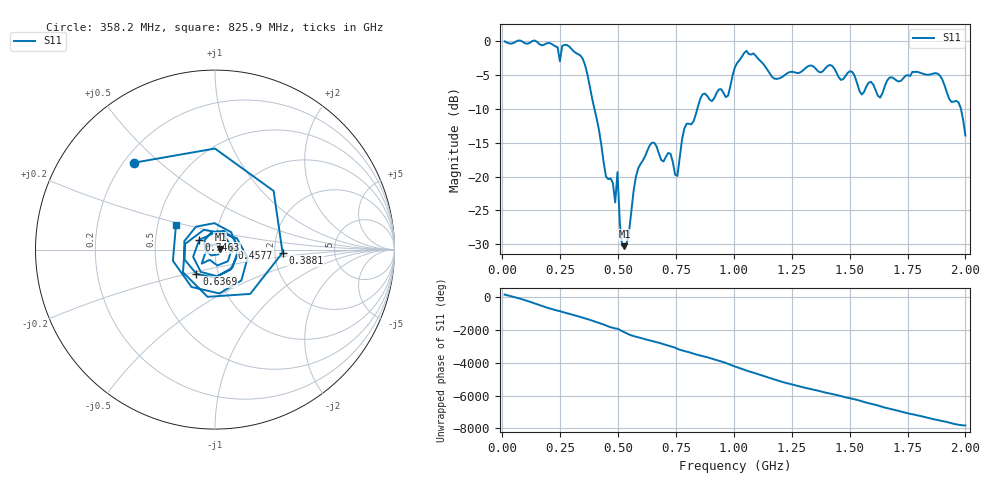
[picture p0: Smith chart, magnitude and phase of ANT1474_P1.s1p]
!Created with skrf (http://scikit-rf.org).
# Hz S RI R 50.0
!freq ReS11 ImS11
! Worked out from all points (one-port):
!   201 points, 10 MHz to 2 GHz, reference 50 ohm
!   lowest |S11| = -30.3 dB at 527.4 MHz (marker M1), VSWR 1.06, Z = 53.1 + j0.451 ohm
!   |S11| at or under -10 dB: 397.9 MHz to 842.2 MHz (444.3 MHz wide, 71.7 % of centre); 1.981 GHz to end of sweep
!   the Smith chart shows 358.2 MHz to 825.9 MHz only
!   S11 on the Smith chart (normalised r, x): 358.2 MHz: 0.24, +0.42; 388.1 MHz: 2.20, -0.09; 457.8 MHz: 1.21, +0.02; 636.9 MHz: 0.79, -0.22; 746.3 MHz: 0.83, +0.09; 825.9 MHz: 0.62, +0.18
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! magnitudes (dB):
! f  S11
! 10 MHz  0.0
! 248.8 MHz  -3.0
! 258.8 MHz  -0.7
! 358.2 MHz  -3.6
! 388.1 MHz  -8.5
! 457.8 MHz  -20.4
! 487.6 MHz  -23.8
! 497.6 MHz  -19.4
! 507.5 MHz  -26.8
! 527.4 MHz  -30.3
! 577.1 MHz  -20.0
! 636.9 MHz  -15.4
! 726.4 MHz  -16.6
! 746.3 MHz  -19.7
! 756.2 MHz  -19.9
! 786.1 MHz  -12.9
! 825.9 MHz  -11.8
! 865.7 MHz  -7.8
! 975.1 MHz  -8.0
! 1.005 GHz  -3.8
! 1.055 GHz  -1.4
! 1.254 GHz  -4.5
! 1.502 GHz  -4.4
! 1.632 GHz  -8.3
! 1.751 GHz  -5.0
! 1.891 GHz  -5.1
! 1.97 GHz  -9.0
! 2 GHz  -13.9
